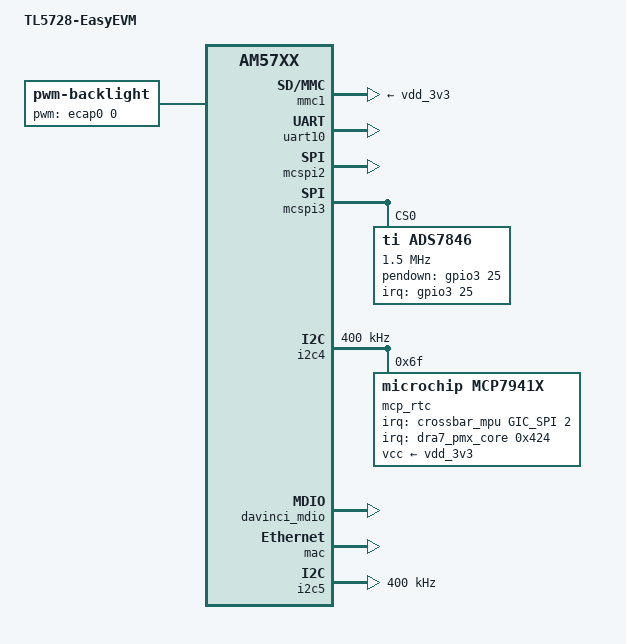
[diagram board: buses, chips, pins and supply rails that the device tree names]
/*
 * Copyright (C) 2016 Texas Instruments Incorporated - http://www.ti.com/
 *
 * This program is free software; you can redistribute it and/or modify
 * it under the terms of the GNU General Public License version 2 as
 * published by the Free Software Foundation.
 */

#include "am57xx-evm-common.dtsi"

/ {
	model = "TL5728-EasyEVM";

	aliases {
		rtc0 = &mcp_rtc;
	};

	backlight {
		compatible = "pwm-backlight";
		pinctrl-names = "default";
		pinctrl-0 = <&ehrpwm0_pins>;

		pwms = <&ecap0 0 50000 0>;

		brightness-levels = <0 10 50 100 150 200 220 240 255>;
		default-brightness-level = <8>;
	};
};

&mmc1 {
	pinctrl-names = "default", "hs", "sdr12", "sdr25", "sdr50", "ddr50", "sdr104";
	pinctrl-0 = <&mmc1_pins_default>;
	vmmc-supply = <&vdd_3v3>;
	vmmc_aux-supply = <&ldo1_reg>;
};

&mmc2 {
	pinctrl-names = "default", "hs", "ddr_1_8v";
	pinctrl-0 = <&mmc2_pins_default>;
	pinctrl-1 = <&mmc2_pins_hs>;
	pinctrl-2 = <&mmc2_pins_ddr_rev20>;
	/delete-property/ mmc-hs200-1_8v;
};

&mmc3 {
	pinctrl-names = "default", "hs", "sdr12", "sdr25", "sdr50";
	pinctrl-0 = <&mmc3_pins_default>;
	pinctrl-1 = <&mmc3_pins_hs>;
	pinctrl-2 = <&mmc3_pins_sdr12>;
	pinctrl-3 = <&mmc3_pins_sdr25>;
	pinctrl-4 = <&mmc3_pins_sdr50 &mmc3_iodelay_manual1_rev20_conf>;
};

&lcd0 {
	pinctrl-names = "default";
	pinctrl-0 = <&lcd_pins_default>;

	enable-gpios = <&gpio2 5 GPIO_ACTIVE_HIGH>;

	panel-timing {
		clock-frequency = <9000000>;
		hactive = <480>;
		vactive = <272>;
		hfront-porch = <2>;
		hback-porch = <2>;
		hsync-len = <41>;
		vback-porch = <2>;
		vfront-porch = <2>;
		vsync-len = <10>;
		hsync-active = <0>;
		vsync-active = <0>;
		de-active = <1>;
		pixelclk-active = <1>;
	};
};

#include "am57xx-evm-cmem.dtsi"

&dra7_pmx_core {
	pinctrl-names = "default";
	pinctrl-0 = <&i2c4_pins_default &i2c1_pins_default>;
	uart10_pins_default: uart10_pins_default {
		pinctrl-single,pins = <
			DRA7XX_CORE_IOPAD(0x3570, (PIN_INPUT_PULLUP | MUX_MODE8)) /* vin2a_d2.uart10_rxd */
			DRA7XX_CORE_IOPAD(0x3574, (PIN_INPUT_PULLUP | MUX_MODE8)) /* vin2a_d3.uart10_txd */
		>;
	};

	spi3_pins: spi3_pins {
		pinctrl-single,pins = <
			DRA7XX_CORE_IOPAD(0x36d4, (INPUT_EN | MUX_MODE3))          /* mcasp1_axr8.spi3_sclk (B12) */
			DRA7XX_CORE_IOPAD(0x36d8, (INPUT_EN | MUX_MODE3))          /* mcasp1_axr9.spi3_d1 (A11) */
			DRA7XX_CORE_IOPAD(0x36dc, (INPUT_EN | MUX_MODE3))          /* mcasp1_axr10.spi3_d0 (B13) */
			DRA7XX_CORE_IOPAD(0x36e0, (PIN_OUTPUT_PULLUP | MUX_MODE3)) /* mcasp1_axr11.spi3_cs0 (A12) */
		>;
	};

	lcd_pins_default: lcd_pins_default {
		pinctrl-single,pins = <
			DRA7XX_CORE_IOPAD(0x35c8, (PIN_OUTPUT | MUX_MODE0 | SLEWCONTROL | MODE_SELECT)) /* vout1_clk */
			DRA7XX_CORE_IOPAD(0x35cc, (PIN_OUTPUT | MUX_MODE0 | SLEWCONTROL | MODE_SELECT)) /* vout1_de */
			DRA7XX_CORE_IOPAD(0x35d4, (PIN_OUTPUT | MUX_MODE0 | SLEWCONTROL | MODE_SELECT)) /* vout1_hsync */
			DRA7XX_CORE_IOPAD(0x35d8, (PIN_OUTPUT | MUX_MODE0 | SLEWCONTROL | MODE_SELECT)) /* vout1_vsync */
			DRA7XX_CORE_IOPAD(0x35dc, (PIN_OUTPUT | MUX_MODE0 | SLEWCONTROL | MODE_SELECT)) /* vout1_d0 */
			DRA7XX_CORE_IOPAD(0x35e0, (PIN_OUTPUT | MUX_MODE0 | SLEWCONTROL | MODE_SELECT)) /* vout1_d1 */
			DRA7XX_CORE_IOPAD(0x35e4, (PIN_OUTPUT | MUX_MODE0 | SLEWCONTROL | MODE_SELECT)) /* vout1_d2 */
			DRA7XX_CORE_IOPAD(0x35e8, (PIN_OUTPUT | MUX_MODE0 | SLEWCONTROL | MODE_SELECT)) /* vout1_d3 */
			DRA7XX_CORE_IOPAD(0x35ec, (PIN_OUTPUT | MUX_MODE0 | SLEWCONTROL | MODE_SELECT)) /* vout1_d4 */
			DRA7XX_CORE_IOPAD(0x35f0, (PIN_OUTPUT | MUX_MODE0 | SLEWCONTROL | MODE_SELECT)) /* vout1_d5 */
			DRA7XX_CORE_IOPAD(0x35f4, (PIN_OUTPUT | MUX_MODE0 | SLEWCONTROL | MODE_SELECT)) /* vout1_d6 */
			DRA7XX_CORE_IOPAD(0x35f8, (PIN_OUTPUT | MUX_MODE0 | SLEWCONTROL | MODE_SELECT)) /* vout1_d7 */
			DRA7XX_CORE_IOPAD(0x35fc, (PIN_OUTPUT | MUX_MODE0 | SLEWCONTROL | MODE_SELECT)) /* vout1_d8 */
			DRA7XX_CORE_IOPAD(0x3600, (PIN_OUTPUT | MUX_MODE0 | SLEWCONTROL | MODE_SELECT)) /* vout1_d9 */
			DRA7XX_CORE_IOPAD(0x3604, (PIN_OUTPUT | MUX_MODE0 | SLEWCONTROL | MODE_SELECT)) /* vout1_d10 */
			DRA7XX_CORE_IOPAD(0x3608, (PIN_OUTPUT | MUX_MODE0 | SLEWCONTROL | MODE_SELECT)) /* vout1_d11 */
			DRA7XX_CORE_IOPAD(0x360c, (PIN_OUTPUT | MUX_MODE0 | SLEWCONTROL | MODE_SELECT)) /* vout1_d12 */
			DRA7XX_CORE_IOPAD(0x3610, (PIN_OUTPUT | MUX_MODE0 | SLEWCONTROL | MODE_SELECT)) /* vout1_d13 */
			DRA7XX_CORE_IOPAD(0x3614, (PIN_OUTPUT | MUX_MODE0 | SLEWCONTROL | MODE_SELECT)) /* vout1_d14 */
			DRA7XX_CORE_IOPAD(0x3618, (PIN_OUTPUT | MUX_MODE0 | SLEWCONTROL | MODE_SELECT)) /* vout1_d15 */
			DRA7XX_CORE_IOPAD(0x361c, (PIN_OUTPUT | MUX_MODE0 | SLEWCONTROL | MODE_SELECT)) /* vout1_d16 */
			DRA7XX_CORE_IOPAD(0x3620, (PIN_OUTPUT | MUX_MODE0 | SLEWCONTROL | MODE_SELECT)) /* vout1_d17 */
			DRA7XX_CORE_IOPAD(0x3624, (PIN_OUTPUT | MUX_MODE0 | SLEWCONTROL | MODE_SELECT)) /* vout1_d18 */
			DRA7XX_CORE_IOPAD(0x3628, (PIN_OUTPUT | MUX_MODE0 | SLEWCONTROL | MODE_SELECT)) /* vout1_d19 */
			DRA7XX_CORE_IOPAD(0x362c, (PIN_OUTPUT | MUX_MODE0 | SLEWCONTROL | MODE_SELECT)) /* vout1_d20 */
			DRA7XX_CORE_IOPAD(0x3630, (PIN_OUTPUT | MUX_MODE0 | SLEWCONTROL | MODE_SELECT)) /* vout1_d21 */
			DRA7XX_CORE_IOPAD(0x3634, (PIN_OUTPUT | MUX_MODE0 | SLEWCONTROL | MODE_SELECT)) /* vout1_d22 */
			DRA7XX_CORE_IOPAD(0x3638, (PIN_OUTPUT | MUX_MODE0 | SLEWCONTROL | MODE_SELECT)) /* vout1_d23 */
		>;
	};

	ads7846_pins: ads7846_pins {
		pinctrl-single,pins = <
			DRA7XX_CORE_IOPAD(0x3548, (PIN_INPUT_PULLUP | MUX_MODE14)) /* vin1a_d21.gpio3_25 */
		>;
	};

	i2c4_pins_default: i2c4_pins_default {
		pinctrl-single,pins = <
			DRA7XX_CORE_IOPAD(0x3440, (PIN_INPUT_PULLUP | MUX_MODE7)) /* gpmc_a0.i2c4_scl */
			DRA7XX_CORE_IOPAD(0x3444, (PIN_INPUT_PULLUP | MUX_MODE7)) /* gpmc_a1.i2c4_sda */
		>;
	};

    usb2_pins_default: usb2_pins_default {
        pinctrl-single,pins = <
            DRA7XX_CORE_IOPAD(0x3684, (PIN_OUTPUT_PULLUP | MUX_MODE0)) /* usb2_drvvbus.usb2_drvvbus */
        >;
    };
};

&uart10 {
	status = "okay";
	pinctrl-names = "default";
	pinctrl-0 = <&uart10_pins_default>;
};

&mcspi2 {
	status = "okay";
};

&mcspi3 {
	status = "okay";
	pinctrl-names = "default";
	pinctrl-0 = <&spi3_pins>;
	ti,pindir-d0-out-d1-in;

	ads7846@0 {
		pinctrl-names = "default";
		pinctrl-0 = <&ads7846_pins>;

		compatible = "ti,ads7846";

		reg = <0>;                      /* CS0 */
		spi-max-frequency = <1500000>;

		interrupt-parent = <&gpio3>;
		interrupts = <25 0>;            /* gpio3_25 */
		pendown-gpio = <&gpio3 25 0>;

		ti,x-min = /bits/ 16 <0x0>;
		ti,x-max = /bits/ 16 <0x0fff>;
		ti,y-min = /bits/ 16 <0x0>;
		ti,y-max = /bits/ 16 <0x0fff>;

		ti,x-plate-ohms = /bits/ 16 <180>;
		ti,pressure-max = /bits/ 16 <255>;

		ti,debounce-max = /bits/ 16 <10>;
		ti,debounce-tol = /bits/ 16 <30>;
		ti,debounce-rep = /bits/ 16 <1>;

		ti,settle-delay-usec = /bits/ 16 <150>;
		ti,keep-vref-on = <1>;

		linux,wakeup;
	};
};

&i2c4 {
	status = "okay";
	clock-frequency = <400000>;

	mcp_rtc: rtc@6f {
		compatible = "microchip,mcp7941x";
		reg = <0x6f>;
		interrupts-extended = <&crossbar_mpu GIC_SPI 2 IRQ_TYPE_EDGE_RISING>,
				<&dra7_pmx_core 0x424>;
		interrupt-names = "irq", "wakeup";
		vcc-supply = <&vdd_3v3>;
		wakeup-source;
	};
};

&davinci_mdio {
	status = "okay";
	pinctrl-names = "default";
	pinctrl-0 = <&rgmii0_pins_default &rgmii1_pins_default>;
};

&mac {
	status = "okay";
	dual_emac;
};

&usb2 {
    pinctrl-names = "default";
    pinctrl-0 = <&usb2_pins_default>;
};

&i2c5 {
    status = "okay";
    clock-frequency = <400000>;

    pinctrl-names = "default";
    pinctrl-0 = <&i2c5_pins_default>;
};

&gpio3 {
	ti,no-reset-on-init;
};

&dss {
	ti,no-reset-on-init;
	ti,no-idle;
};

&dispc {
	ti,no-reset-on-init;
	ti,no-idle;
};
